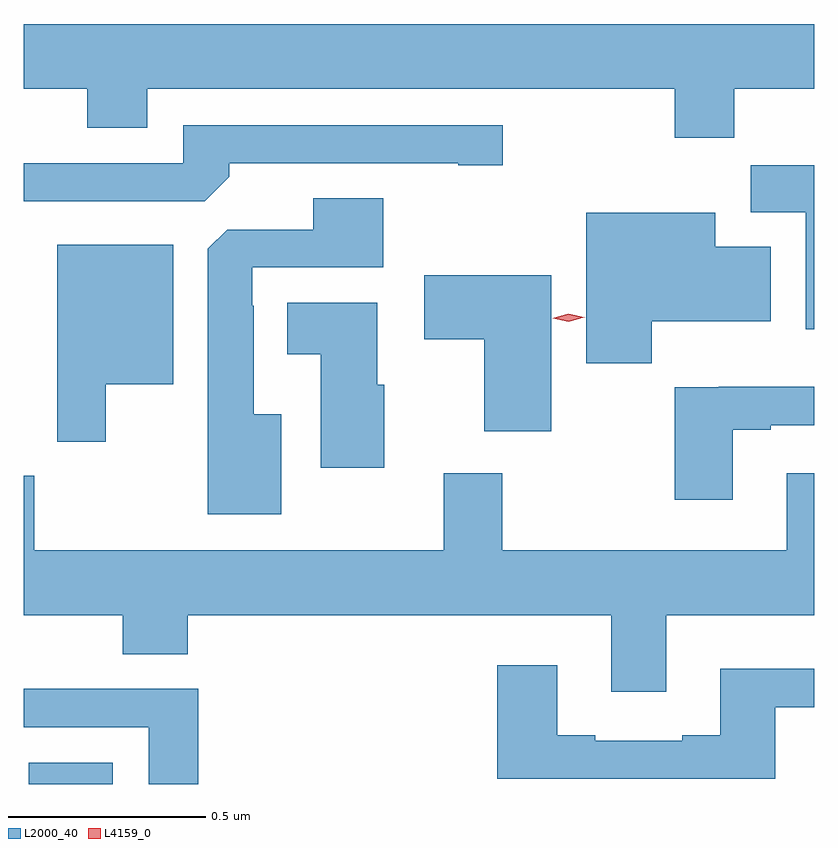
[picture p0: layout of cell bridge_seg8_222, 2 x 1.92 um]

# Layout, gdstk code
import gdstk
lib = gdstk.Library(unit=1e-6, precision=1e-09)
def R(c, l, rs):  # rectangles x0, y0, x1, y1
    for r in rs: c.add(gdstk.rectangle(r[:2], r[2:], *l))
def P(c, l, *ps):  # polygons
    for p in ps: c.add(gdstk.Polygon(p, *l))
L2000_40 = (2000, 40)
L4159_0 = (4159, 0)

bridge_seg8_222 = lib.new_cell('bridge_seg8_222')
R(bridge_seg8_222, L2000_40, [(134.654,1084.105,134.866,1084.159)])
P(bridge_seg8_222, L2000_40, [(136.439,1085.864),(136.641,1085.864),(136.641,1086.028),(134.641,1086.028),(134.641,1085.864),(134.801,1085.864),(134.801,1085.765),(134.953,1085.765),(134.953,1085.864),(136.288,1085.864),(136.288,1085.74),(136.439,1085.74)],
  [(135.161,1085.642),(135.161,1085.676),(135.74,1085.676),(135.74,1085.671),(135.853,1085.671),(135.853,1085.772),(135.045,1085.772),(135.045,1085.676),(134.641,1085.676),(134.641,1085.58),(135.099,1085.58)],
  [(136.641,1085.671),(136.48,1085.671),(136.48,1085.552),(136.619,1085.552),(136.619,1085.256),(136.641,1085.256)],
  [(135.292,1085.041),(135.223,1085.041),(135.223,1085.315),(135.219,1085.315),(135.219,1085.412),(135.55,1085.412),(135.55,1085.587),(135.374,1085.587),(135.374,1085.508),(135.156,1085.508),(135.107,1085.459),(135.107,1084.787),(135.292,1084.787)],
  [(136.23,1085.276),(136.531,1085.276),(136.531,1085.464),(136.39,1085.464),(136.39,1085.551),(136.064,1085.551),(136.064,1085.169),(136.23,1085.169)],
  [(134.848,1085.117),(135.019,1085.117),(135.019,1085.47),(134.726,1085.47),(134.726,1084.971),(134.848,1084.971)],
  [(135.976,1085.392),(135.654,1085.392),(135.654,1085.23),(135.806,1085.23),(135.806,1084.997),(135.976,1084.997)],
  [(135.553,1085.115),(135.535,1085.115),(135.535,1085.323),(135.308,1085.323),(135.308,1085.192),(135.392,1085.192),(135.392,1084.905),(135.553,1084.905)],
  [(136.435,1085.001),(136.531,1085.001),(136.531,1085.013),(136.641,1085.013),(136.641,1085.11),(136.399,1085.11),(136.399,1085.109),(136.288,1085.109),(136.288,1084.824),(136.435,1084.824)],
  [(136.267,1084.532),(136.641,1084.532),(136.641,1084.891),(136.571,1084.891),(136.571,1084.696),(135.852,1084.696),(135.852,1084.891),(135.704,1084.891),(135.704,1084.696),(134.667,1084.696),(134.667,1084.885),(134.641,1084.885),(134.641,1084.532),(134.891,1084.532),(134.891,1084.433),(135.056,1084.433),(135.056,1084.532),(136.127,1084.532),(136.127,1084.338),(136.267,1084.338)],
  [(136.543,1084.299),(136.641,1084.299),(136.641,1084.396),(136.403,1084.396),(136.403,1084.228),(136.307,1084.228),(136.307,1084.215),(136.087,1084.215),(136.087,1084.228),(135.991,1084.228),(135.991,1084.405),(135.839,1084.405),(135.839,1084.118),(136.543,1084.118)],
  [(135.083,1084.346),(134.641,1084.346),(134.641,1084.248),(134.957,1084.248),(134.957,1084.105),(135.083,1084.105)])
P(bridge_seg8_222, L4159_0, [(136.02,1085.275),(135.98,1085.283),(135.98,1085.283),(135.98,1085.283),(136.019,1085.295),(136.059,1085.286),(136.06,1085.286),(136.059,1085.286)])

lib.write_gds('bridge_seg8_222.gds')
